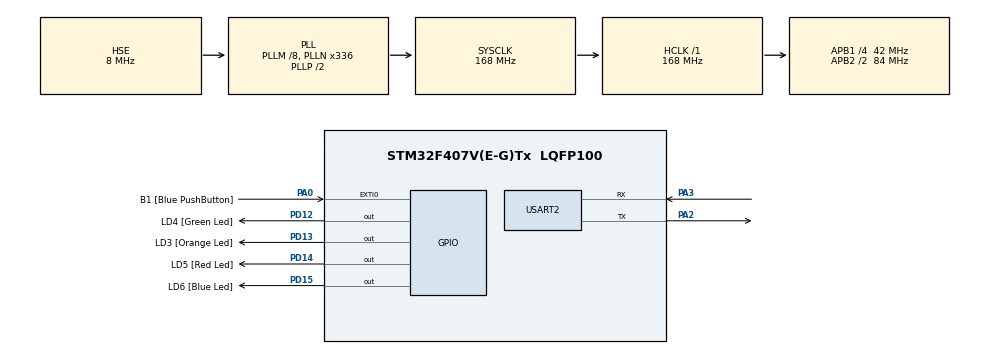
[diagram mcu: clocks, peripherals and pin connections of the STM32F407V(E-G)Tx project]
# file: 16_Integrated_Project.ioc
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FREERTOS.Tasks01=defaultTask,24,128,StartDefaultTask,Default,NULL,Dynamic,NULL,NULL
FREERTOS.configCHECK_FOR_STACK_OVERFLOW=2
FREERTOS.configTOTAL_HEAP_SIZE=32768
FREERTOS.configUSE_IDLE_HOOK=0
FREERTOS.configUSE_MALLOC_FAILED_HOOK=1
FREERTOS.configUSE_TICK_HOOK=0
FREERTOS.configUSE_TRACE_FACILITY=1
Mcu.Family=STM32F4
Mcu.Name=STM32F407V(E-G)Tx
Mcu.Package=LQFP100
NVIC.EXTI0_IRQn=true\:5\:0\:false\:false\:true\:true\:true\:true\:true
NVIC.PriorityGroup=NVIC_PRIORITYGROUP_4
NVIC.TIM6_DAC_IRQn=true\:15\:0\:false\:false\:true\:false\:false\:true\:true
NVIC.TimeBase=TIM6_DAC_IRQn
NVIC.TimeBaseIP=TIM6
PA0-WKUP.GPIO_Label=B1 [Blue PushButton]
PA0-WKUP.GPIO_ModeDefaultEXTI=GPIO_MODE_IT_RISING
PA0-WKUP.GPIO_PuPd=GPIO_NOPULL
PA0-WKUP.Signal=GPXTI0
PA13.GPIO_Label=SWDIO
PA13.Mode=Serial_Wire
PA13.Signal=SYS_JTMS-SWDIO
PA14.GPIO_Label=SWCLK
PA14.Mode=Serial_Wire
PA14.Signal=SYS_JTCK-SWCLK
PA2.Mode=Asynchronous
PA2.Signal=USART2_TX
PA3.Mode=Asynchronous
PA3.Signal=USART2_RX
PB3.GPIO_Label=SWO
PB3.Signal=SYS_JTDO-SWO
PC14-OSC32_IN.GPIO_Label=PC14-OSC32_IN
PC14-OSC32_IN.Mode=LSE-External-Oscillator
PC14-OSC32_IN.Signal=RCC_OSC32_IN
PC15-OSC32_OUT.GPIO_Label=PC15-OSC32_OUT
PC15-OSC32_OUT.Mode=LSE-External-Oscillator
PC15-OSC32_OUT.Signal=RCC_OSC32_OUT
PD12.GPIO_Label=LD4 [Green Led]
PD12.GPIO_PuPd=GPIO_NOPULL
PD12.GPIO_Speed=GPIO_SPEED_FREQ_LOW
PD12.Signal=GPIO_Output
PD13.GPIO_Label=LD3 [Orange Led]
PD13.GPIO_PuPd=GPIO_NOPULL
PD13.GPIO_Speed=GPIO_SPEED_FREQ_LOW
PD13.Signal=GPIO_Output
PD14.GPIO_Label=LD5 [Red Led]
PD14.GPIO_PuPd=GPIO_NOPULL
PD14.GPIO_Speed=GPIO_SPEED_FREQ_LOW
PD14.Signal=GPIO_Output
PD15.GPIO_Label=LD6 [Blue Led]
PD15.GPIO_PuPd=GPIO_NOPULL
PD15.GPIO_Speed=GPIO_SPEED_FREQ_LOW
PD15.Signal=GPIO_Output
PH0-OSC_IN.GPIO_Label=PH0-OSC_IN
PH0-OSC_IN.Mode=HSE-External-Oscillator
PH0-OSC_IN.Signal=RCC_OSC_IN
PH1-OSC_OUT.GPIO_Label=PH1-OSC_OUT
PH1-OSC_OUT.Mode=HSE-External-Oscillator
PH1-OSC_OUT.Signal=RCC_OSC_OUT
ProjectManager.HeapSize=0x200
ProjectManager.StackSize=0x400
ProjectManager.TargetToolchain=STM32CubeIDE
RCC.48MHZClocksFreq_Value=48000000
RCC.AHBFreq_Value=168000000
RCC.APB1CLKDivider=RCC_HCLK_DIV4
RCC.APB1Freq_Value=42000000
RCC.APB1TimFreq_Value=84000000
RCC.APB2CLKDivider=RCC_HCLK_DIV2
RCC.APB2Freq_Value=84000000
RCC.APB2TimFreq_Value=168000000
RCC.CortexFreq_Value=168000000
RCC.HCLKFreq_Value=168000000
RCC.HSE_VALUE=8000000
RCC.HSI_VALUE=16000000
RCC.PLLM=8
RCC.PLLN=336
RCC.PLLQ=7
RCC.PLLSourceVirtual=RCC_PLLSOURCE_HSE
RCC.SYSCLKFreq_VALUE=168000000
RCC.SYSCLKSource=RCC_SYSCLKSOURCE_PLLCLK
RCC.VCOOutputFreq_Value=336000000
USART2.VirtualMode=VM_ASYNC
VP_FREERTOS_VS_CMSIS_V2.Mode=CMSIS_V2
VP_SYS_VS_tim6.Mode=TIM6
board=STM32F407G-DISC1

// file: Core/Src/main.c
/* USER CODE BEGIN Header */
/**
  ******************************************************************************
  * @file           : main.c
  * @brief          : Main program body
  ******************************************************************************
  * @attention
  *
  * Copyright (c) 2026 STMicroelectronics.
  * All rights reserved.
  *
  * This software is licensed under terms that can be found in the LICENSE file
  * in the root directory of this software component.
  * If no LICENSE file comes with this software, it is provided AS-IS.
  *
  ******************************************************************************
  */
/* USER CODE END Header */
#include "main.h"

/* USER CODE BEGIN Includes */
#include "FreeRTOS.h"
#include "task.h"
#include "queue.h"
#include "semphr.h"
#include "timers.h"
#include "event_groups.h"
#include <stdio.h>
#include <string.h>
/* USER CODE END Includes */

/* USER CODE BEGIN PTD */
typedef struct
{
    uint8_t source;
    uint32_t value;
} DataMessage_t;
/* USER CODE END PTD */

/* USER CODE BEGIN PD */
#define SENSOR_READY_BIT    (1U << 0U)
#define DATA_READY_BIT      (1U << 1U)
/* USER CODE END PD */

UART_HandleTypeDef huart2;

/* USER CODE BEGIN PV */
TaskHandle_t sensorTaskHandle;
TaskHandle_t dataTaskHandle;
TaskHandle_t processingTaskHandle;
TaskHandle_t monitorTaskHandle;
TaskHandle_t eventTaskHandle;

QueueHandle_t dataQueue;

SemaphoreHandle_t uartMutex;

EventGroupHandle_t eventGroup;

TimerHandle_t systemTimer;
/* USER CODE END PV */

void SystemClock_Config(void);
static void MX_GPIO_Init(void);
static void MX_USART2_UART_Init(void);

/* USER CODE BEGIN PFP */
static void UART_Print(const char *msg);

static void SystemTimerCallback(TimerHandle_t xTimer);

static void SensorTask(void *argument);
static void DataTask(void *argument);
static void ProcessingTask(void *argument);
static void SystemMonitorTask(void *argument);
static void EventMonitorTask(void *argument);
/* USER CODE END PFP */

int main(void)
{

  /* MCU Configuration--------------------------------------------------------*/

  /* Reset of all peripherals, Initializes the Flash interface and the Systick. */
  HAL_Init();

  /* Configure the system clock */
  SystemClock_Config();

  /* Initialize all configured peripherals */
  MX_GPIO_Init();
  MX_USART2_UART_Init();

  dataQueue = xQueueCreate(10, sizeof(DataMessage_t));

  if (dataQueue == NULL)
  {
      Error_Handler();
  }

  uartMutex = xSemaphoreCreateMutex();

  if (uartMutex == NULL)
  {
      Error_Handler();
  }

  eventGroup = xEventGroupCreate();

  if (eventGroup == NULL)
  {
      Error_Handler();
  }

  systemTimer = xTimerCreate( "SystemTimer", pdMS_TO_TICKS(1000), pdTRUE, NULL, SystemTimerCallback);

  if (systemTimer == NULL)
  {
      Error_Handler();
  }

  if (xTimerStart(systemTimer, 0) != pdPASS)
  {
      Error_Handler();
  }

  xTaskCreate(SensorTask, "SensorTask", 256, NULL, 2, &sensorTaskHandle);

  xTaskCreate(DataTask, "DataTask", 256, NULL, 2, &dataTaskHandle);

  xTaskCreate(ProcessingTask, "ProcessingTask", 256, NULL, 2, &processingTaskHandle);

  xTaskCreate(SystemMonitorTask, "MonitorTask", 512, NULL, 1, &monitorTaskHandle);

  xTaskCreate(EventMonitorTask, "EventTask", 256, NULL, 1, &eventTaskHandle);

  vTaskStartScheduler();

  /* We should never get here as control is now taken by the scheduler */

  /* Infinite loop */
  while (1)
  {

  }
}

void SystemClock_Config(void)
{
  RCC_OscInitTypeDef RCC_OscInitStruct = {0};
  RCC_ClkInitTypeDef RCC_ClkInitStruct = {0};

  /** Configure the main internal regulator output voltage
  */
  __HAL_RCC_PWR_CLK_ENABLE();
  __HAL_PWR_VOLTAGESCALING_CONFIG(PWR_REGULATOR_VOLTAGE_SCALE1);

  /** Initializes the RCC Oscillators according to the specified parameters
  * in the RCC_OscInitTypeDef structure.
  */
  RCC_OscInitStruct.OscillatorType = RCC_OSCILLATORTYPE_HSE;
  RCC_OscInitStruct.HSEState = RCC_HSE_ON;
  RCC_OscInitStruct.PLL.PLLState = RCC_PLL_ON;
  RCC_OscInitStruct.PLL.PLLSource = RCC_PLLSOURCE_HSE;
  RCC_OscInitStruct.PLL.PLLM = 8;
  RCC_OscInitStruct.PLL.PLLN = 336;
  RCC_OscInitStruct.PLL.PLLP = RCC_PLLP_DIV2;
  RCC_OscInitStruct.PLL.PLLQ = 7;
  if (HAL_RCC_OscConfig(&RCC_OscInitStruct) != HAL_OK)
  {
    Error_Handler();
  }

  /** Initializes the CPU, AHB and APB buses clocks
  */
  RCC_ClkInitStruct.ClockType = RCC_CLOCKTYPE_HCLK|RCC_CLOCKTYPE_SYSCLK
                              |RCC_CLOCKTYPE_PCLK1|RCC_CLOCKTYPE_PCLK2;
  RCC_ClkInitStruct.SYSCLKSource = RCC_SYSCLKSOURCE_PLLCLK;
  RCC_ClkInitStruct.AHBCLKDivider = RCC_SYSCLK_DIV1;
  RCC_ClkInitStruct.APB1CLKDivider = RCC_HCLK_DIV4;
  RCC_ClkInitStruct.APB2CLKDivider = RCC_HCLK_DIV2;

  if (HAL_RCC_ClockConfig(&RCC_ClkInitStruct, FLASH_LATENCY_5) != HAL_OK)
  {
    Error_Handler();
  }
}

static void MX_USART2_UART_Init(void)
{

  huart2.Instance = USART2;
  huart2.Init.BaudRate = 115200;
  huart2.Init.WordLength = UART_WORDLENGTH_8B;
  huart2.Init.StopBits = UART_STOPBITS_1;
  huart2.Init.Parity = UART_PARITY_NONE;
  huart2.Init.Mode = UART_MODE_TX_RX;
  huart2.Init.HwFlowCtl = UART_HWCONTROL_NONE;
  huart2.Init.OverSampling = UART_OVERSAMPLING_16;
  if (HAL_UART_Init(&huart2) != HAL_OK)
  {
    Error_Handler();
  }

}

static void MX_GPIO_Init(void)
{
  GPIO_InitTypeDef GPIO_InitStruct = {0};

  /* GPIO Ports Clock Enable */
  __HAL_RCC_GPIOC_CLK_ENABLE();
  __HAL_RCC_GPIOH_CLK_ENABLE();
  __HAL_RCC_GPIOA_CLK_ENABLE();
  __HAL_RCC_GPIOD_CLK_ENABLE();
  __HAL_RCC_GPIOB_CLK_ENABLE();

  /*Configure GPIO pin Output Level */
  HAL_GPIO_WritePin(GPIOD, LD4_Pin|LD3_Pin|LD5_Pin|LD6_Pin, GPIO_PIN_RESET);

  /*Configure GPIO pin : B1_Pin */
  GPIO_InitStruct.Pin = B1_Pin;
  GPIO_InitStruct.Mode = GPIO_MODE_IT_RISING;
  GPIO_InitStruct.Pull = GPIO_NOPULL;
  HAL_GPIO_Init(B1_GPIO_Port, &GPIO_InitStruct);

  /*Configure GPIO pins : LD4_Pin LD3_Pin LD5_Pin LD6_Pin */
  GPIO_InitStruct.Pin = LD4_Pin|LD3_Pin|LD5_Pin|LD6_Pin;
  GPIO_InitStruct.Mode = GPIO_MODE_OUTPUT_PP;
  GPIO_InitStruct.Pull = GPIO_NOPULL;
  GPIO_InitStruct.Speed = GPIO_SPEED_FREQ_LOW;
  HAL_GPIO_Init(GPIOD, &GPIO_InitStruct);

  /* EXTI interrupt init*/
  HAL_NVIC_SetPriority(EXTI0_IRQn, 5, 0);
  HAL_NVIC_EnableIRQ(EXTI0_IRQn);

}

/* USER CODE BEGIN 4 */
static void UART_Print(const char *msg)
{
    xSemaphoreTake(uartMutex, portMAX_DELAY);

    HAL_UART_Transmit(&huart2, (uint8_t *)msg, strlen(msg), HAL_MAX_DELAY);

    xSemaphoreGive(uartMutex);
}

static void SystemTimerCallback(TimerHandle_t xTimer)
{
    UART_Print("System timer: 1 second\r\n");
}

static void SensorTask(void *argument)
{
    DataMessage_t msg;

    uint32_t value = 100;

    for (;;)
    {
        msg.source = 1;
        msg.value = value++;

        xQueueSend(dataQueue, &msg, portMAX_DELAY);

        UART_Print("Sensor data sent\r\n");

        xEventGroupSetBits(eventGroup, SENSOR_READY_BIT);

        vTaskDelay(pdMS_TO_TICKS(1000));
    }
}

static void DataTask(void *argument)
{
    DataMessage_t msg;

    uint32_t value = 200;

    for (;;)
    {
        msg.source = 2;
        msg.value = value++;

        xQueueSend(dataQueue, &msg, portMAX_DELAY);

        UART_Print("Data sent\r\n");

        xEventGroupSetBits(eventGroup, DATA_READY_BIT);

        vTaskDelay(pdMS_TO_TICKS(1500));
    }
}

static void ProcessingTask(void *argument)
{
    DataMessage_t msg;

    char buffer[80];

    for (;;)
    {
        /* Wait for data from queue */
        if (xQueueReceive(dataQueue, &msg, pdMS_TO_TICKS(100)) == pdPASS)
        {
            snprintf(buffer, sizeof(buffer), "Processing source=%d value=%lu\r\n", msg.source, (unsigned long)msg.value);

            UART_Print(buffer);
        }

        /* Check whether button generated notification */
        if (ulTaskNotifyTake(pdTRUE, 0))
        {
            UART_Print("Button notification received\r\n");
            HAL_GPIO_TogglePin(GPIOD, LD6_Pin);
        }
    }
}

void HAL_GPIO_EXTI_Callback(uint16_t GPIO_Pin)
{
    BaseType_t xHigherPriorityTaskWoken = pdFALSE;

    if (GPIO_Pin == B1_Pin)
    {
        vTaskNotifyGiveFromISR(processingTaskHandle, &xHigherPriorityTaskWoken);

        portYIELD_FROM_ISR(xHigherPriorityTaskWoken);
    }
}

static void SystemMonitorTask(void *argument)
{
    char buffer[400];

    UBaseType_t sensorStack;
    UBaseType_t dataStack;
    UBaseType_t processingStack;
    UBaseType_t monitorStack;
    UBaseType_t eventStack;
    UBaseType_t queueMessages;
    UBaseType_t queueSpaces;

    size_t freeHeap;
    size_t minFreeHeap;

    for (;;)
    {
        sensorStack = uxTaskGetStackHighWaterMark(sensorTaskHandle);

        dataStack = uxTaskGetStackHighWaterMark(dataTaskHandle);

        processingStack = uxTaskGetStackHighWaterMark(processingTaskHandle);

        monitorStack = uxTaskGetStackHighWaterMark(monitorTaskHandle);

        eventStack = uxTaskGetStackHighWaterMark(eventTaskHandle);

        freeHeap = xPortGetFreeHeapSize();

        minFreeHeap = xPortGetMinimumEverFreeHeapSize();

        queueMessages = uxQueueMessagesWaiting(dataQueue);
        queueSpaces = uxQueueSpacesAvailable(dataQueue);

        snprintf(buffer,
                 sizeof(buffer),
                 "\r\n"
                 "========== RTOS MONITOR ==========\r\n"
                 "SensorTask      Stack Free: %lu\r\n"
                 "DataTask        Stack Free: %lu\r\n"
                 "ProcessingTask  Stack Free: %lu\r\n"
                 "MonitorTask     Stack Free: %lu\r\n"
                 "EventTask       Stack Free: %lu\r\n"
                 "Free Heap       : %lu\r\n"
                 "Minimum Heap    : %lu\r\n"
                 "Queue Messages  : %lu\r\n"
                 "Queue Free Slots: %lu\r\n"
                 "===================================\r\n",
                 (unsigned long)sensorStack,
                 (unsigned long)dataStack,
                 (unsigned long)processingStack,
                 (unsigned long)monitorStack,
                 (unsigned long)eventStack,
                 (unsigned long)freeHeap,
                 (unsigned long)minFreeHeap,
                 (unsigned long)queueMessages,
                 (unsigned long)queueSpaces);

        UART_Print(buffer);

        vTaskDelay(pdMS_TO_TICKS(5000));
    }
}

static void EventMonitorTask(void *argument)
{
    EventBits_t bits;

    for (;;)
    {
        bits = xEventGroupWaitBits(eventGroup, SENSOR_READY_BIT | DATA_READY_BIT, pdTRUE, pdTRUE, portMAX_DELAY);

        if ((bits & (SENSOR_READY_BIT | DATA_READY_BIT)) == (SENSOR_READY_BIT | DATA_READY_BIT))
        {
            UART_Print("Both SENSOR and DATA are READY\r\n");
        }
    }
}
/* USER CODE END 4 */

void HAL_TIM_PeriodElapsedCallback(TIM_HandleTypeDef *htim)
{
  if (htim->Instance == TIM6)
  {
    HAL_IncTick();
  }
}

void Error_Handler(void)
{
  __disable_irq();
  while (1)
  {
  }
}
